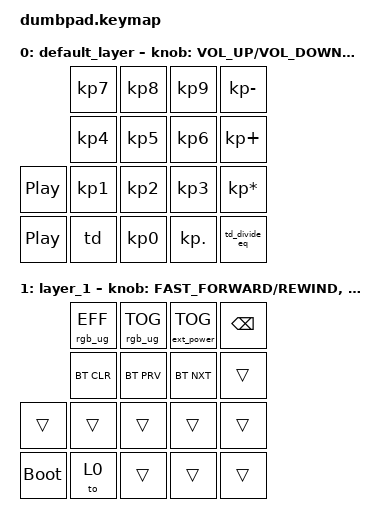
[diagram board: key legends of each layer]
/*
 * Copyright (c) 2022 The ZMK Contributors
 *
 * SPDX-License-Identifier: MIT
 */

#include <behaviors.dtsi>
#include <dt-bindings/zmk/bt.h>
#include <dt-bindings/zmk/ext_power.h>
#include <dt-bindings/zmk/keys.h>
#include <dt-bindings/zmk/rgb.h>

/ {
    behaviors {
        td: td {
            compatible = "zmk,behavior-tap-dance";
            label = "TD";
            #binding-cells = <0>;
            bindings = <&mo 1>, <&to 1>;
        };

        td_divide_eq: td_divide_eq {
            compatible = "zmk,behavior-tap-dance";
            label = "TD_DIVIDE_EQ";
            #binding-cells = <0>;
            bindings = <&kp KP_EQUAL>, <&kp KP_DIVIDE>;
        };
    };

    combos {
        compatible = "zmk,combos";

        calculator {
            bindings = <&kp C_AL_CALC>;
            key-positions = <0 1>;
        };

        calc_2 {
            bindings = <&kp K_CALCULATOR>;
            key-positions = <2 3>;
        };
    };

    keymap {
        compatible = "zmk,keymap";

        default_layer {
            bindings = <
          &kp KP_N7  &kp KP_N8  &kp KP_N9   &kp KP_MINUS
          &kp KP_N4  &kp KP_N5  &kp KP_N6   &kp KP_PLUS
&kp C_PP  &kp KP_N1  &kp KP_N2  &kp KP_N3   &kp KP_MULTIPLY
&kp C_PP  &td        &kp KP_N0  &kp KP_DOT  &td_divide_eq
            >;

            sensor-bindings =
                <&inc_dec_kp C_VOLUME_UP C_VOLUME_DOWN>,
                <&inc_dec_kp C_VOLUME_UP C_VOLUME_DOWN>;
        };

        layer_1 {
            bindings = <
             &rgb_ug RGB_EFF  &rgb_ug RGB_TOG  &ext_power EP_TOG  &kp BACKSPACE
             &bt BT_CLR       &bt BT_PRV       &bt BT_NXT         &trans
&trans       &trans           &trans           &trans             &trans
&bootloader  &to 0            &trans           &trans             &trans
            >;

            sensor-bindings =
                <&inc_dec_kp C_FAST_FORWARD C_REWIND>,
                <&inc_dec_kp C_FAST_FORWARD C_REWIND>;
        };
    };
};
